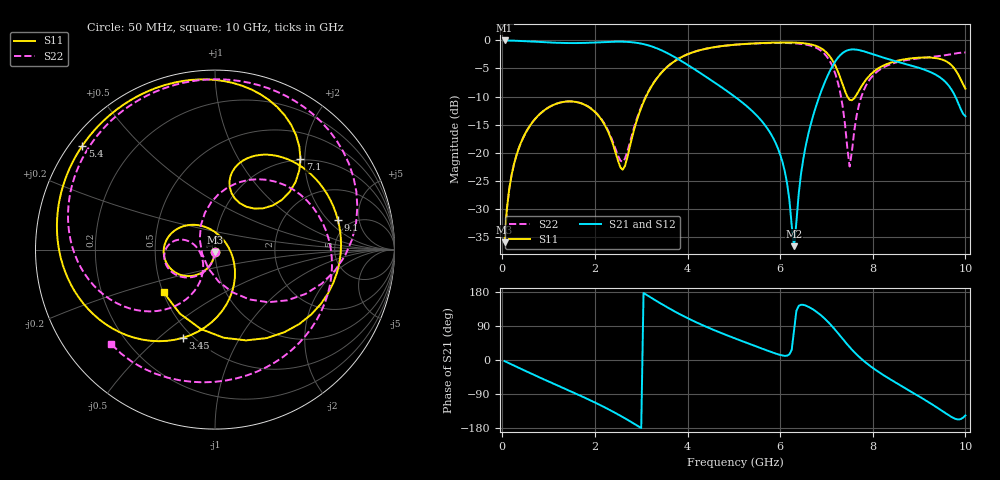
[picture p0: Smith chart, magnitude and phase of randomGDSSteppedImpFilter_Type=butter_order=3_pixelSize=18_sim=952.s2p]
! freq	dB(S11)	phase(S11)	dB(S12)	phase(S12)
!  dB(S21)	phase(S21)	dB(S22)	phase(S22)
!S-par simulation data
#  GHz  S  DB  R 50
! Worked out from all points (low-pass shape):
!   200 points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, 50 MHz to 10 GHz, reference 50 ohm
!   highest |S21| = -0.01 dB at 50 MHz (marker M1); lowest = -36.6 dB at 6.3 GHz (marker M2)
!   |S21| within 3 dB of the highest: start of sweep to 3.731 GHz; 7.256 GHz to 8.208 GHz (951.3 MHz wide, 12.3 % of centre)
!   lowest |S11| = -35.9 dB at 50 MHz (marker M3), VSWR 1.03, Z = 49.9 - j1.59 ohm
!   |S11| at or under -10 dB: start of sweep to 3.105 GHz; 7.452 GHz to 7.624 GHz (172.1 MHz wide, 2.28 % of centre)
!   |S22| runs from -35.9 to -0.4 dB; largest |S21 - S12| = 0
!   S11 on the Smith chart (normalised r, x): 50 MHz: 1.00, -0.03; 3.45 GHz: 0.45, -0.60; 5.4 GHz: 0.04, +0.34; 7.1 GHz: 0.98, +1.91; 9.1 GHz: 3.99, +2.60; 10 GHz: 0.50, -0.28
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0.05  -35.93 -92.9  -0.01 -3.0  -0.01 -3.0  -35.94 -92.7
0.2  -24.01 -102.3  -0.04 -11.7  -0.04 -11.7  -24.00 -101.6
0.55  -15.80 -123.2  -0.16 -31.7  -0.16 -31.7  -15.80 -121.3
1.75  -11.35 165.6  -0.45 -97.8  -0.45 -97.8  -11.33 178.3
2.6  -23.03 33.6  -0.23 -150.5  -0.23 -150.5  -21.64 -155.8
3.4  -6.11 -105.8  -1.62 150.6  -1.62 150.6  -6.05 -136.3
3.45  -5.64 -109.9  -1.80 147.0  -1.80 147.0  -5.59 -139.3
4.25  -1.77 -163.4  -5.67 96.0  -5.67 96.0  -1.76 173.8
5.05  -0.74 157.3  -10.20 55.8  -10.20 55.8  -0.76 133.5
5.4  -0.55 142.0  -12.60 39.6  -12.60 39.6  -0.58 116.3
6  -0.38 115.3  -20.31 13.4  -20.31 13.4  -0.45 84.2
6.3  -0.39 100.6  -36.65 78.1  -36.65 78.1  -0.51 65.2
6.45  -0.45 92.5  -23.82 145.7  -23.82 145.7  -0.61 54.3
6.7  -0.77 77.1  -13.76 134.3  -13.76 134.3  -1.05 32.6
7.1  -3.16 46.7  -5.02 92.0  -5.02 92.0  -4.10 -17.8
7.5  -10.57 53.7  -1.66 34.1  -1.66 34.1  -22.47 -161.8
7.8  -7.62 78.1  -1.92 -1.9  -1.92 -1.9  -8.98 78.1
8.35  -4.06 56.3  -3.36 -49.0  -3.36 -49.0  -4.34 18.6
9.1  -3.04 13.5  -5.17 -103.4  -5.17 -103.4  -3.09 -48.1
9.6  -3.79 -34.0  -7.66 -142.6  -7.66 -142.6  -2.59 -95.1
9.85  -6.14 -84.5  -11.25 -156.9  -11.25 -156.9  -2.24 -121.0
10  -8.58 -140.4  -13.50 -146.3  -13.50 -146.3  -2.14 -137.5
